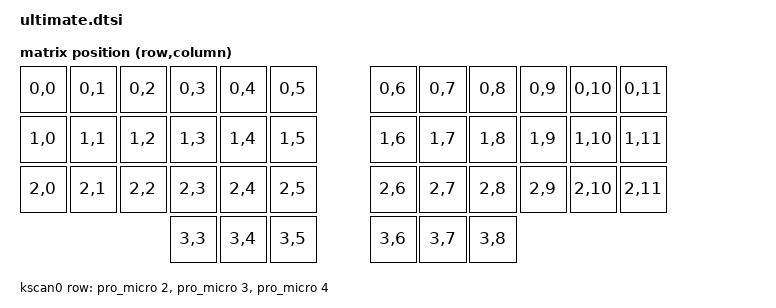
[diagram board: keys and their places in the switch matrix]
#include <dt-bindings/zmk/matrix_transform.h> // Put this with the other includes at the top of your dtsi

/ {
    kscan0: kscan0 {
        compatible = "zmk,kscan-gpio-matrix";
        diode-direction = "col2row";
        wakeup-source;

        row-gpios
            = <&pro_micro 2 (GPIO_ACTIVE_HIGH | GPIO_PULL_DOWN)>
            , <&pro_micro 3 (GPIO_ACTIVE_HIGH | GPIO_PULL_DOWN)>
            , <&pro_micro 4 (GPIO_ACTIVE_HIGH | GPIO_PULL_DOWN)>
            ;

    };
};

/ {
    default_transform: keymap_transform0 {
        compatible = "zmk,matrix-transform";
        columns = <6>;
        rows = <3>;
        map = <
        //  LCol 1 |LCol 2 |LCol 3 |LCol 4 |LCol 5 |LCol 6      RKey 1 |RKey 2 |RKey 3
            RC(0,0) RC(0,1) RC(0,2) RC(0,3) RC(0,4) RC(0,5)     RC(0,6) RC(0,7) RC(0,8) RC(0,9) RC(0,10) RC(0,11)
            RC(1,0) RC(1,1) RC(1,2) RC(1,3) RC(1,4) RC(1,5)     RC(1,6) RC(1,7) RC(1,8) RC(1,9) RC(1,10) RC(1,11)
            RC(2,0) RC(2,1) RC(2,2) RC(2,3) RC(2,4) RC(2,5)     RC(2,6) RC(2,7) RC(2,8) RC(2,9) RC(2,10) RC(2,11)
                                    RC(3,3) RC(3,4) RC(3,5)     RC(3,6) RC(3,7) RC(3,8) 
        >;
    };
};

/ {
    physical_layout0: physical_layout_0 { // First physical layout, use different naming for other layouts
        compatible = "zmk,physical-layout";
        display-name = "Default Layout";
        kscan = <&kscan0>; // Label of the kscan node, optional if all layouts use the same
        transform = <&default_transform>; // Label of the matrix transform for this layout
    };
};

/ {
    chosen {
        zmk,kscan = &kscan0;
        zmk,physical-layout = &physical_layout0;
        // Other chosen items
    };
};


&pinctrl {
    i2c0_default_custom: i2c0_default_custom {
        group1 {
            psels = <NRF_PSEL(TWIM_SDA, 0, 6)>,   /* Pin 0 (P0.06) */
                    <NRF_PSEL(TWIM_SCL, 0, 8)>;   /* Pin 1 (P0.08) */
        };
    };

    i2c0_sleep_custom: i2c0_sleep_custom {
        group1 {
            psels = <NRF_PSEL(TWIM_SDA, 0, 6)>,
                    <NRF_PSEL(TWIM_SCL, 0, 8)>;
            low-power-enable;
        };
    };
};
